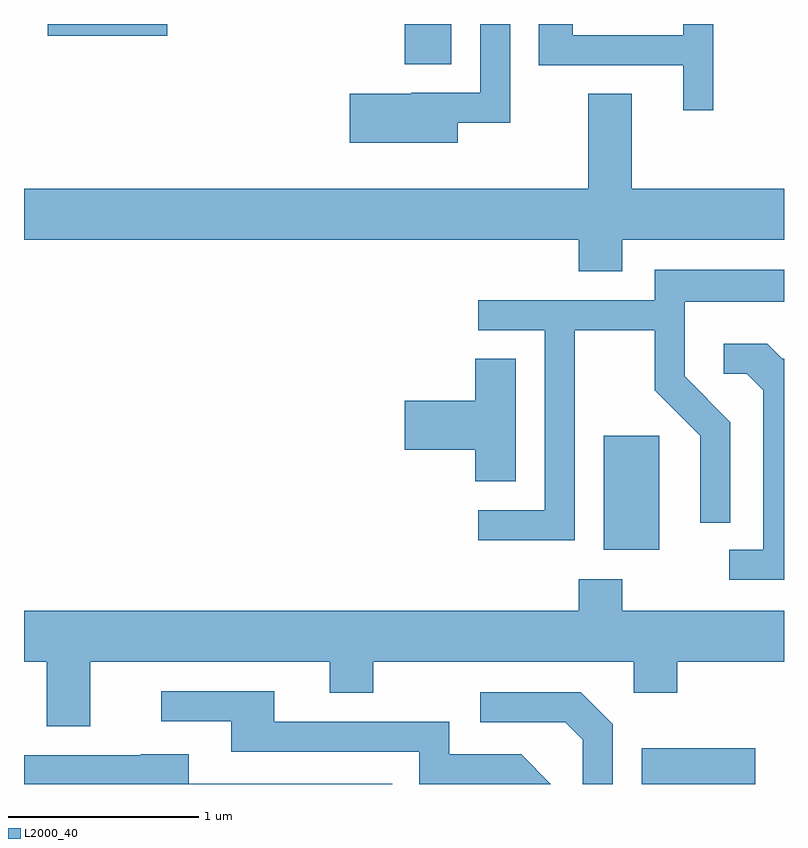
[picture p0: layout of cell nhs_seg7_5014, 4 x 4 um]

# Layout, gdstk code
import gdstk
lib = gdstk.Library(unit=1e-6, precision=1e-09)
def R(c, l, rs):  # rectangles x0, y0, x1, y1
    for r in rs: c.add(gdstk.rectangle(r[:2], r[2:], *l))
def P(c, l, *ps):  # polygons
    for p in ps: c.add(gdstk.Polygon(p, *l))
L2000_40 = (2000, 40)

nhs_seg7_5014 = lib.new_cell('nhs_seg7_5014')
R(nhs_seg7_5014, L2000_40, [(340.861,1800.252,341.459,1800.439), (340.661,1801.486,340.954,1802.084), (339.616,1804.041,339.859,1804.252), (337.736,1804.191,338.364,1804.252)])
P(nhs_seg7_5014, L2000_40, [(341.239,1804.252),(341.081,1804.252),(341.081,1804.194),(340.499,1804.194),(340.499,1804.252),(340.321,1804.252),(340.321,1804.036),(341.081,1804.036),(341.081,1803.798),(341.239,1803.798)],
  [(339.894,1803.731),(340.169,1803.731),(340.169,1804.252),(340.011,1804.252),(340.011,1803.889),(339.65,1803.889),(339.65,1803.884),(339.326,1803.884),(339.326,1803.626),(339.894,1803.626)],
  [(340.759,1803.116),(341.611,1803.116),(341.611,1803.384),(340.809,1803.384),(340.809,1803.884),(340.581,1803.884),(340.581,1803.384),(337.611,1803.384),(337.611,1803.116),(340.531,1803.116),(340.531,1802.951),(340.759,1802.951)],
  [(340.509,1802.641),(340.931,1802.641),(340.931,1802.324),(341.171,1802.084),(341.171,1801.628),(341.329,1801.628),(341.329,1802.157),(341.089,1802.397),(341.089,1802.791),(341.611,1802.791),(341.611,1802.959),(340.931,1802.959),(340.931,1802.799),(340.003,1802.799),(340.003,1802.641),(340.351,1802.641),(340.351,1801.694),(340.003,1801.694),(340.003,1801.536),(340.509,1801.536)],
  [(341.611,1802.489),(341.602,1802.489),(341.522,1802.569),(341.293,1802.569),(341.293,1802.411),(341.414,1802.411),(341.501,1802.324),(341.501,1801.484),(341.323,1801.484),(341.323,1801.326),(341.611,1801.326)],
  [(340.199,1802.489),(339.986,1802.489),(339.986,1802.269),(339.616,1802.269),(339.616,1802.011),(339.986,1802.011),(339.986,1801.846),(340.199,1801.846)],
  [(337.959,1800.896),(339.221,1800.896),(339.221,1800.731),(339.449,1800.731),(339.449,1800.896),(340.821,1800.896),(340.821,1800.731),(341.049,1800.731),(341.049,1800.896),(341.611,1800.896),(341.611,1801.164),(340.759,1801.164),(340.759,1801.329),(340.531,1801.329),(340.531,1801.164),(337.611,1801.164),(337.611,1800.896),(337.731,1800.896),(337.731,1800.556),(337.959,1800.556)],
  [(340.227,1800.409),(339.849,1800.409),(339.849,1800.579),(338.929,1800.579),(338.929,1800.739),(338.333,1800.739),(338.333,1800.581),(338.701,1800.581),(338.701,1800.421),(339.691,1800.421),(339.691,1800.252),(340.384,1800.252)],
  [(340.709,1800.567),(340.542,1800.734),(340.013,1800.734),(340.013,1800.576),(340.459,1800.576),(340.551,1800.484),(340.551,1800.252),(340.709,1800.252)],
  [(339.548,1800.254),(338.479,1800.254),(338.479,1800.409),(338.225,1800.409),(338.225,1800.404),(337.611,1800.404),(337.611,1800.252),(339.548,1800.252)])

lib.write_gds('nhs_seg7_5014.gds')
